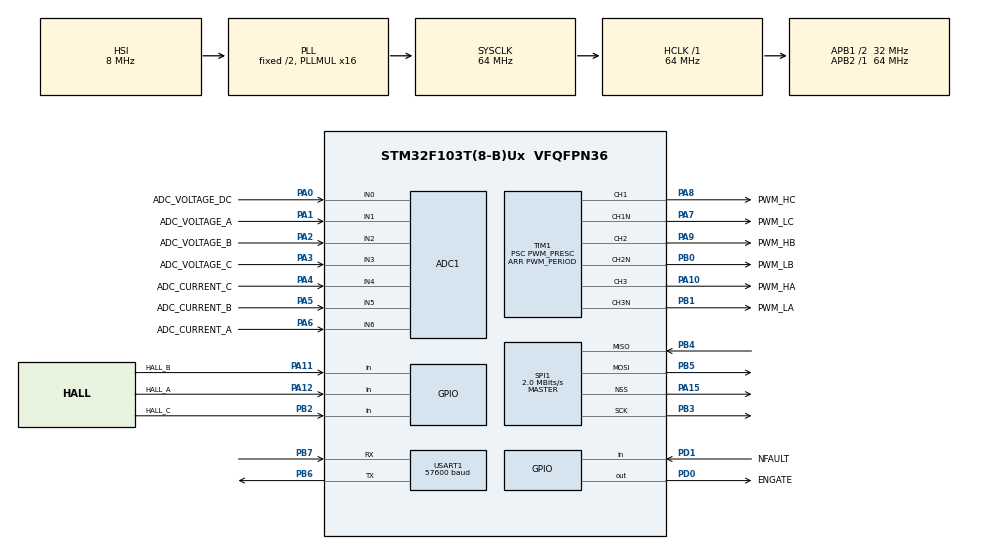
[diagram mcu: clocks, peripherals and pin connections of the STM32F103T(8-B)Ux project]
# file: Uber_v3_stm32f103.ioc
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ADC1.Channel-2\#ChannelInjectedConversion=ADC_CHANNEL_6
ADC1.Channel-3\#ChannelInjectedConversion=ADC_CHANNEL_5
ADC1.EnableAnalogWatchDog=false
ADC1.EnableInjectedConversion=ENABLE
ADC1.EnableRegularConversion=DISABLE
ADC1.ExternalTrigInjecConv=ADC_EXTERNALTRIGINJECCONV_T1_CC4
ADC1.InjNumberOfConversion=2
ADC1.InjectedOffset-2\#ChannelInjectedConversion=0
ADC1.InjectedOffset-3\#ChannelInjectedConversion=0
ADC1.InjectedRank-2\#ChannelInjectedConversion=1
ADC1.InjectedRank-3\#ChannelInjectedConversion=2
ADC1.Mode=ADC_DUALMODE_INJECSIMULT
ADC1.SamplingTime-2\#ChannelInjectedConversion=ADC_SAMPLETIME_1CYCLE_5
ADC1.SamplingTime-3\#ChannelInjectedConversion=ADC_SAMPLETIME_1CYCLE_5
ADC1.master=1
ADC2.Channel-2\#ChannelInjectedConversion=ADC_CHANNEL_4
ADC2.Channel-3\#ChannelInjectedConversion=ADC_CHANNEL_0
ADC2.EnableAnalogWatchDog=false
ADC2.EnableInjectedConversion=ENABLE
ADC2.EnableRegularConversion=DISABLE
ADC2.InjNumberOfConversion=2
ADC2.InjectedOffset-2\#ChannelInjectedConversion=0
ADC2.InjectedOffset-3\#ChannelInjectedConversion=0
ADC2.InjectedRank-2\#ChannelInjectedConversion=1
ADC2.InjectedRank-3\#ChannelInjectedConversion=2
ADC2.Mode=ADC_DUALMODE_INJECSIMULT
ADC2.SamplingTime-2\#ChannelInjectedConversion=ADC_SAMPLETIME_1CYCLE_5
ADC2.SamplingTime-3\#ChannelInjectedConversion=ADC_SAMPLETIME_1CYCLE_5
Dma.ADC1.0.Direction=DMA_PERIPH_TO_MEMORY
Dma.ADC1.0.Instance=DMA1_Channel1
Dma.ADC1.0.MemDataAlignment=DMA_MDATAALIGN_WORD
Dma.ADC1.0.MemInc=DMA_MINC_ENABLE
Dma.ADC1.0.Mode=DMA_CIRCULAR
Dma.ADC1.0.PeriphDataAlignment=DMA_PDATAALIGN_WORD
Dma.ADC1.0.PeriphInc=DMA_PINC_DISABLE
Dma.ADC1.0.Priority=DMA_PRIORITY_LOW
Dma.Request0=ADC1
Dma.Request1=USART1_RX
Dma.Request2=USART1_TX
Dma.USART1_RX.1.Direction=DMA_PERIPH_TO_MEMORY
Dma.USART1_RX.1.Instance=DMA1_Channel5
Dma.USART1_RX.1.MemDataAlignment=DMA_MDATAALIGN_BYTE
Dma.USART1_RX.1.MemInc=DMA_MINC_ENABLE
Dma.USART1_RX.1.Mode=DMA_NORMAL
Dma.USART1_RX.1.PeriphDataAlignment=DMA_PDATAALIGN_BYTE
Dma.USART1_RX.1.PeriphInc=DMA_PINC_DISABLE
Dma.USART1_RX.1.Priority=DMA_PRIORITY_LOW
Dma.USART1_TX.2.Direction=DMA_MEMORY_TO_PERIPH
Dma.USART1_TX.2.Instance=DMA1_Channel4
Dma.USART1_TX.2.MemDataAlignment=DMA_MDATAALIGN_BYTE
Dma.USART1_TX.2.MemInc=DMA_MINC_ENABLE
Dma.USART1_TX.2.Mode=DMA_NORMAL
Dma.USART1_TX.2.PeriphDataAlignment=DMA_PDATAALIGN_BYTE
Dma.USART1_TX.2.PeriphInc=DMA_PINC_DISABLE
Dma.USART1_TX.2.Priority=DMA_PRIORITY_LOW
Mcu.Family=STM32F1
Mcu.Name=STM32F103T(8-B)Ux
Mcu.Package=VFQFPN36
Mcu.UserConstants=PWM_PRESC,4-1;PWM_PERIOD,256-1
NVIC.ADC1_2_IRQn=true\:0\:0\:false\:false\:true\:true\:true\:true
NVIC.DMA1_Channel1_IRQn=true\:0\:0\:false\:false\:true\:false\:true\:true
NVIC.DMA1_Channel4_IRQn=true\:0\:0\:false\:false\:true\:false\:true\:true
NVIC.DMA1_Channel5_IRQn=true\:0\:0\:false\:false\:true\:false\:true\:true
NVIC.PriorityGroup=NVIC_PRIORITYGROUP_4
NVIC.TIM2_IRQn=true\:0\:0\:false\:false\:true\:true\:true\:true
NVIC.USART1_IRQn=true\:0\:0\:false\:false\:true\:true\:true\:true
PA0-WKUP.GPIO_Label=ADC_VOLTAGE_DC
PA0-WKUP.Signal=ADCx_IN0
PA1.GPIO_Label=ADC_VOLTAGE_A
PA1.Signal=ADCx_IN1
PA10.GPIO_Label=PWM_HA
PA10.Signal=S_TIM1_CH3
PA11.GPIO_Label=HALL_B
PA11.Signal=GPIO_Input
PA12.GPIO_Label=HALL_A
PA12.Signal=GPIO_Input
PA13.Mode=Serial_Wire
PA13.Signal=SYS_JTMS-SWDIO
PA14.Mode=Serial_Wire
PA14.Signal=SYS_JTCK-SWCLK
PA15.Mode=NSS_Signal_Hard_Output
PA15.Signal=SPI1_NSS
PA2.GPIO_Label=ADC_VOLTAGE_B
PA2.Signal=ADCx_IN2
PA3.GPIO_Label=ADC_VOLTAGE_C
PA3.Signal=ADCx_IN3
PA4.GPIO_Label=ADC_CURRENT_C
PA4.Signal=ADCx_IN4
PA5.GPIO_Label=ADC_CURRENT_B
PA5.Signal=ADCx_IN5
PA6.GPIO_Label=ADC_CURRENT_A
PA6.Signal=ADCx_IN6
PA7.GPIO_Label=PWM_LC
PA7.Mode=PWM Generation1 CH1 CH1N
PA7.Signal=TIM1_CH1N
PA8.GPIO_Label=PWM_HC
PA8.Signal=S_TIM1_CH1
PA9.GPIO_Label=PWM_HB
PA9.Signal=S_TIM1_CH2
PB0.GPIO_Label=PWM_LB
PB0.Mode=PWM Generation2 CH2 CH2N
PB0.Signal=TIM1_CH2N
PB1.GPIO_Label=PWM_LA
PB1.Mode=PWM Generation3 CH3 CH3N
PB1.Signal=TIM1_CH3N
PB2.GPIO_Label=HALL_C
PB2.Signal=GPIO_Input
PB3.Mode=Full_Duplex_Master
PB3.Signal=SPI1_SCK
PB4.Mode=Full_Duplex_Master
PB4.Signal=SPI1_MISO
PB5.Mode=Full_Duplex_Master
PB5.Signal=SPI1_MOSI
PB6.Mode=Asynchronous
PB6.Signal=USART1_TX
PB7.Mode=Asynchronous
PB7.Signal=USART1_RX
PD0-OSC_IN.GPIO_Label=ENGATE
PD0-OSC_IN.Signal=GPIO_Output
PD1-OSC_OUT.GPIO_Label=NFAULT
PD1-OSC_OUT.Signal=GPIO_Input
ProjectManager.HeapSize=0x200
ProjectManager.StackSize=0x400
ProjectManager.TargetToolchain=STM32CubeIDE
RCC.ADCPresc=RCC_ADCPCLK2_DIV6
RCC.AHBFreq_Value=64000000
RCC.APB1CLKDivider=RCC_HCLK_DIV2
RCC.APB1Freq_Value=32000000
RCC.APB1TimFreq_Value=64000000
RCC.APB2Freq_Value=64000000
RCC.APB2TimFreq_Value=64000000
RCC.HCLKFreq_Value=64000000
RCC.PLLMUL=RCC_PLL_MUL16
RCC.SYSCLKFreq_VALUE=64000000
RCC.SYSCLKSource=RCC_SYSCLKSOURCE_PLLCLK
RCC.USBFreq_Value=64000000
SH.ADCx_IN0.0=ADC1_IN0,IN0
SH.ADCx_IN0.1=ADC2_IN0,IN0
SH.ADCx_IN1.0=ADC1_IN1,IN1
SH.ADCx_IN1.1=ADC2_IN1,IN1
SH.ADCx_IN2.0=ADC1_IN2,IN2
SH.ADCx_IN2.1=ADC2_IN2,IN2
SH.ADCx_IN3.0=ADC1_IN3,IN3
SH.ADCx_IN3.1=ADC2_IN3,IN3
SH.ADCx_IN4.0=ADC1_IN4,IN4
SH.ADCx_IN4.1=ADC2_IN4,IN4
SH.ADCx_IN5.0=ADC1_IN5,IN5
SH.ADCx_IN5.1=ADC2_IN5,IN5
SH.ADCx_IN6.0=ADC1_IN6,IN6
SH.ADCx_IN6.1=ADC2_IN6,IN6
SH.S_TIM1_CH1.0=TIM1_CH1,PWM Generation1 CH1 CH1N
SH.S_TIM1_CH2.0=TIM1_CH2,PWM Generation2 CH2 CH2N
SH.S_TIM1_CH3.0=TIM1_CH3,PWM Generation3 CH3 CH3N
SPI1.BaudRatePrescaler=SPI_BAUDRATEPRESCALER_32
SPI1.CLKPhase=SPI_PHASE_2EDGE
SPI1.CalculateBaudRate=2.0 MBits/s
SPI1.DataSize=SPI_DATASIZE_16BIT
SPI1.Direction=SPI_DIRECTION_2LINES
SPI1.Mode=SPI_MODE_MASTER
SPI1.VirtualNSS=VM_NSSHARD
SPI1.VirtualType=VM_MASTER
TIM1.Channel-PWM\ Generation1\ CH1\ CH1N=TIM_CHANNEL_1
TIM1.Channel-PWM\ Generation2\ CH2\ CH2N=TIM_CHANNEL_2
TIM1.Channel-PWM\ Generation3\ CH3\ CH3N=TIM_CHANNEL_3
TIM1.Channel-PWM\ Generation4\ No\ Output=TIM_CHANNEL_4
TIM1.CounterMode=TIM_COUNTERMODE_CENTERALIGNED1
TIM1.Period=PWM_PERIOD
TIM1.Prescaler=PWM_PRESC
TIM1.TIM_MasterOutputTrigger=TIM_TRGO_OC4REF
TIM2.Channel-PWM\ Generation2\ No\ Output=TIM_CHANNEL_2
TIM2.CounterMode=TIM_COUNTERMODE_CENTERALIGNED1
TIM2.Period=PWM_PERIOD
TIM2.Prescaler=PWM_PRESC
TIM2.TIM_MasterOutputTrigger=TIM_TRGO_OC2REF
USART1.BaudRate=57600
USART1.VirtualMode=VM_ASYNC
VP_TIM1_VS_ClockSourceINT.Mode=Internal
VP_TIM1_VS_no_output4.Mode=PWM Generation4 No Output
VP_TIM2_VS_ClockSourceINT.Mode=Internal
VP_TIM2_VS_no_output2.Mode=PWM Generation2 No Output
board=custom

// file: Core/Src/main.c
/* USER CODE BEGIN Header */
/**
  ******************************************************************************
  * @file           : main.c
  * @brief          : Main program body
  ******************************************************************************
  * @attention
  *
  * <h2><center>&copy; Copyright (c) 2022 STMicroelectronics.
  * All rights reserved.</center></h2>
  *
  * This software component is licensed by ST under BSD 3-Clause license,
  * the "License"; You may not use this file except in compliance with the
  * License. You may obtain a copy of the License at:
  *                        opensource.org/licenses/BSD-3-Clause
  *
  ******************************************************************************
  */
/* USER CODE END Header */
#include "main.h"

/* USER CODE BEGIN Includes */
#include "application.h"
/* USER CODE END Includes */

 ADC_HandleTypeDef hadc1;
ADC_HandleTypeDef hadc2;
DMA_HandleTypeDef hdma_adc1;

SPI_HandleTypeDef hspi1;

TIM_HandleTypeDef htim1;
TIM_HandleTypeDef htim2;

UART_HandleTypeDef huart1;
DMA_HandleTypeDef hdma_usart1_rx;
DMA_HandleTypeDef hdma_usart1_tx;

void SystemClock_Config(void);
static void MX_GPIO_Init(void);
static void MX_ADC1_Init(void);
static void MX_SPI1_Init(void);
static void MX_TIM1_Init(void);
static void MX_USART1_UART_Init(void);
static void MX_DMA_Init(void);
static void MX_ADC2_Init(void);
static void MX_TIM2_Init(void);

int main(void)
{

  /* MCU Configuration--------------------------------------------------------*/

  /* Reset of all peripherals, Initializes the Flash interface and the Systick. */
  HAL_Init();

  /* Configure the system clock */
  SystemClock_Config();

  /* USER CODE BEGIN SysInit */
  MX_GPIO_Init();
  MX_DMA_Init();
  //MX_ADC1_Init();
  MX_SPI1_Init();
  MX_TIM1_Init();
  MX_TIM2_Init();
  MX_USART1_UART_Init();
  //MX_ADC2_Init();

  //HAL_GPIO_WritePin(LED_GPIO_Port, LED_Pin, 0);

  DRV_Init(&hspi1);

	uint8_t buf1[2] = {0,(0x2 << 3) + 0x80};
	uint8_t ret1[2] = {0,0};
	uint8_t res1 = HAL_SPI_TransmitReceive(&hspi1, buf1, ret1, 1, 100);

  DRV_Write(SHUNT_AMPLIFIER_CONTROL,
			(GAIN_CS1 & 0xffff) +
			(GAIN_CS2 & 0xffff) +
			(GAIN_CS3 & 0xffff));
//  uint16_t ret = 0;
//  ret = DRV_Read(SHUNT_AMPLIFIER_CONTROL);
//  ret = DRV_Read(WARNINGS_WATCHDOG_RESET);
//  ret = DRV_Read(OV_VDS_FAULTS);
//  ret = DRV_Read(IC_FAULTS);
//  ret = DRV_Read(VGS_FAULTS);

  //Control_Init_ADC_IAIBICVDC(&hadc1, &hadc2);
  //Control_Init_ADC_VPhaseVDC(&hadc1, &hadc2);
  Control_Init_ADC_VAVBVCVDC(&hadc1, &hadc2);

  Control_Init_Motor_Timer(&htim1);
  Application_Init(&huart1);

  HAL_Delay(1);

  while (1)
  {
	  Application_Update();
  }

  return 0;
  /* USER CODE END SysInit */

  /* Initialize all configured peripherals */
  MX_GPIO_Init();
  MX_ADC1_Init();
  MX_SPI1_Init();
  MX_TIM1_Init();
  MX_USART1_UART_Init();
  MX_DMA_Init();
  MX_ADC2_Init();
  MX_TIM2_Init();

  /* Infinite loop */
  while (1)
  {

  }
}

void SystemClock_Config(void)
{
  RCC_OscInitTypeDef RCC_OscInitStruct = {0};
  RCC_ClkInitTypeDef RCC_ClkInitStruct = {0};
  RCC_PeriphCLKInitTypeDef PeriphClkInit = {0};

  /** Initializes the RCC Oscillators according to the specified parameters
  * in the RCC_OscInitTypeDef structure.
  */
  RCC_OscInitStruct.OscillatorType = RCC_OSCILLATORTYPE_HSI;
  RCC_OscInitStruct.HSIState = RCC_HSI_ON;
  RCC_OscInitStruct.HSICalibrationValue = RCC_HSICALIBRATION_DEFAULT;
  RCC_OscInitStruct.PLL.PLLState = RCC_PLL_ON;
  RCC_OscInitStruct.PLL.PLLSource = RCC_PLLSOURCE_HSI_DIV2;
  RCC_OscInitStruct.PLL.PLLMUL = RCC_PLL_MUL16;
  if (HAL_RCC_OscConfig(&RCC_OscInitStruct) != HAL_OK)
  {
    Error_Handler();
  }

  /** Initializes the CPU, AHB and APB buses clocks
  */
  RCC_ClkInitStruct.ClockType = RCC_CLOCKTYPE_HCLK|RCC_CLOCKTYPE_SYSCLK
                              |RCC_CLOCKTYPE_PCLK1|RCC_CLOCKTYPE_PCLK2;
  RCC_ClkInitStruct.SYSCLKSource = RCC_SYSCLKSOURCE_PLLCLK;
  RCC_ClkInitStruct.AHBCLKDivider = RCC_SYSCLK_DIV1;
  RCC_ClkInitStruct.APB1CLKDivider = RCC_HCLK_DIV2;
  RCC_ClkInitStruct.APB2CLKDivider = RCC_HCLK_DIV1;

  if (HAL_RCC_ClockConfig(&RCC_ClkInitStruct, FLASH_LATENCY_2) != HAL_OK)
  {
    Error_Handler();
  }
  PeriphClkInit.PeriphClockSelection = RCC_PERIPHCLK_ADC;
  PeriphClkInit.AdcClockSelection = RCC_ADCPCLK2_DIV6;
  if (HAL_RCCEx_PeriphCLKConfig(&PeriphClkInit) != HAL_OK)
  {
    Error_Handler();
  }
}

static void MX_ADC1_Init(void)
{

  ADC_MultiModeTypeDef multimode = {0};
  ADC_InjectionConfTypeDef sConfigInjected = {0};

  /** Common config
  */
  hadc1.Instance = ADC1;
  hadc1.Init.ScanConvMode = ADC_SCAN_ENABLE;
  hadc1.Init.ContinuousConvMode = DISABLE;
  hadc1.Init.DiscontinuousConvMode = DISABLE;
  hadc1.Init.ExternalTrigConv = ADC_SOFTWARE_START;
  hadc1.Init.DataAlign = ADC_DATAALIGN_RIGHT;
  hadc1.Init.NbrOfConversion = 1;
  if (HAL_ADC_Init(&hadc1) != HAL_OK)
  {
    Error_Handler();
  }

  /** Configure the ADC multi-mode
  */
  multimode.Mode = ADC_DUALMODE_INJECSIMULT;
  if (HAL_ADCEx_MultiModeConfigChannel(&hadc1, &multimode) != HAL_OK)
  {
    Error_Handler();
  }

  /** Configure Injected Channel
  */
  sConfigInjected.InjectedChannel = ADC_CHANNEL_6;
  sConfigInjected.InjectedRank = ADC_INJECTED_RANK_1;
  sConfigInjected.InjectedNbrOfConversion = 2;
  sConfigInjected.InjectedSamplingTime = ADC_SAMPLETIME_1CYCLE_5;
  sConfigInjected.ExternalTrigInjecConv = ADC_EXTERNALTRIGINJECCONV_T1_CC4;
  sConfigInjected.AutoInjectedConv = DISABLE;
  sConfigInjected.InjectedDiscontinuousConvMode = DISABLE;
  sConfigInjected.InjectedOffset = 0;
  if (HAL_ADCEx_InjectedConfigChannel(&hadc1, &sConfigInjected) != HAL_OK)
  {
    Error_Handler();
  }

  /** Configure Injected Channel
  */
  sConfigInjected.InjectedChannel = ADC_CHANNEL_5;
  sConfigInjected.InjectedRank = ADC_INJECTED_RANK_2;
  if (HAL_ADCEx_InjectedConfigChannel(&hadc1, &sConfigInjected) != HAL_OK)
  {
    Error_Handler();
  }

}

static void MX_ADC2_Init(void)
{

  ADC_InjectionConfTypeDef sConfigInjected = {0};

  /** Common config
  */
  hadc2.Instance = ADC2;
  hadc2.Init.ScanConvMode = ADC_SCAN_ENABLE;
  hadc2.Init.ContinuousConvMode = DISABLE;
  hadc2.Init.DiscontinuousConvMode = DISABLE;
  hadc2.Init.ExternalTrigConv = ADC_SOFTWARE_START;
  hadc2.Init.DataAlign = ADC_DATAALIGN_RIGHT;
  hadc2.Init.NbrOfConversion = 1;
  if (HAL_ADC_Init(&hadc2) != HAL_OK)
  {
    Error_Handler();
  }

  /** Configure Injected Channel
  */
  sConfigInjected.InjectedChannel = ADC_CHANNEL_4;
  sConfigInjected.InjectedRank = ADC_INJECTED_RANK_1;
  sConfigInjected.InjectedNbrOfConversion = 2;
  sConfigInjected.InjectedSamplingTime = ADC_SAMPLETIME_1CYCLE_5;
  sConfigInjected.AutoInjectedConv = DISABLE;
  sConfigInjected.InjectedDiscontinuousConvMode = DISABLE;
  sConfigInjected.InjectedOffset = 0;
  if (HAL_ADCEx_InjectedConfigChannel(&hadc2, &sConfigInjected) != HAL_OK)
  {
    Error_Handler();
  }

  /** Configure Injected Channel
  */
  sConfigInjected.InjectedChannel = ADC_CHANNEL_0;
  sConfigInjected.InjectedRank = ADC_INJECTED_RANK_2;
  if (HAL_ADCEx_InjectedConfigChannel(&hadc2, &sConfigInjected) != HAL_OK)
  {
    Error_Handler();
  }

}

static void MX_SPI1_Init(void)
{

  /* SPI1 parameter configuration*/
  hspi1.Instance = SPI1;
  hspi1.Init.Mode = SPI_MODE_MASTER;
  hspi1.Init.Direction = SPI_DIRECTION_2LINES;
  hspi1.Init.DataSize = SPI_DATASIZE_16BIT;
  hspi1.Init.CLKPolarity = SPI_POLARITY_LOW;
  hspi1.Init.CLKPhase = SPI_PHASE_2EDGE;
  hspi1.Init.NSS = SPI_NSS_HARD_OUTPUT;
  hspi1.Init.BaudRatePrescaler = SPI_BAUDRATEPRESCALER_32;
  hspi1.Init.FirstBit = SPI_FIRSTBIT_MSB;
  hspi1.Init.TIMode = SPI_TIMODE_DISABLE;
  hspi1.Init.CRCCalculation = SPI_CRCCALCULATION_DISABLE;
  hspi1.Init.CRCPolynomial = 10;
  if (HAL_SPI_Init(&hspi1) != HAL_OK)
  {
    Error_Handler();
  }

}

static void MX_TIM1_Init(void)
{

  TIM_ClockConfigTypeDef sClockSourceConfig = {0};
  TIM_MasterConfigTypeDef sMasterConfig = {0};
  TIM_OC_InitTypeDef sConfigOC = {0};
  TIM_BreakDeadTimeConfigTypeDef sBreakDeadTimeConfig = {0};

  htim1.Instance = TIM1;
  htim1.Init.Prescaler = PWM_PRESC;
  htim1.Init.CounterMode = TIM_COUNTERMODE_CENTERALIGNED1;
  htim1.Init.Period = PWM_PERIOD;
  htim1.Init.ClockDivision = TIM_CLOCKDIVISION_DIV1;
  htim1.Init.RepetitionCounter = 0;
  htim1.Init.AutoReloadPreload = TIM_AUTORELOAD_PRELOAD_DISABLE;
  if (HAL_TIM_Base_Init(&htim1) != HAL_OK)
  {
    Error_Handler();
  }
  sClockSourceConfig.ClockSource = TIM_CLOCKSOURCE_INTERNAL;
  if (HAL_TIM_ConfigClockSource(&htim1, &sClockSourceConfig) != HAL_OK)
  {
    Error_Handler();
  }
  if (HAL_TIM_PWM_Init(&htim1) != HAL_OK)
  {
    Error_Handler();
  }
  sMasterConfig.MasterOutputTrigger = TIM_TRGO_OC4REF;
  sMasterConfig.MasterSlaveMode = TIM_MASTERSLAVEMODE_DISABLE;
  if (HAL_TIMEx_MasterConfigSynchronization(&htim1, &sMasterConfig) != HAL_OK)
  {
    Error_Handler();
  }
  sConfigOC.OCMode = TIM_OCMODE_PWM1;
  sConfigOC.Pulse = 0;
  sConfigOC.OCPolarity = TIM_OCPOLARITY_HIGH;
  sConfigOC.OCNPolarity = TIM_OCNPOLARITY_HIGH;
  sConfigOC.OCFastMode = TIM_OCFAST_DISABLE;
  sConfigOC.OCIdleState = TIM_OCIDLESTATE_RESET;
  sConfigOC.OCNIdleState = TIM_OCNIDLESTATE_RESET;
  if (HAL_TIM_PWM_ConfigChannel(&htim1, &sConfigOC, TIM_CHANNEL_1) != HAL_OK)
  {
    Error_Handler();
  }
  if (HAL_TIM_PWM_ConfigChannel(&htim1, &sConfigOC, TIM_CHANNEL_2) != HAL_OK)
  {
    Error_Handler();
  }
  if (HAL_TIM_PWM_ConfigChannel(&htim1, &sConfigOC, TIM_CHANNEL_3) != HAL_OK)
  {
    Error_Handler();
  }
  if (HAL_TIM_PWM_ConfigChannel(&htim1, &sConfigOC, TIM_CHANNEL_4) != HAL_OK)
  {
    Error_Handler();
  }
  sBreakDeadTimeConfig.OffStateRunMode = TIM_OSSR_DISABLE;
  sBreakDeadTimeConfig.OffStateIDLEMode = TIM_OSSI_DISABLE;
  sBreakDeadTimeConfig.LockLevel = TIM_LOCKLEVEL_OFF;
  sBreakDeadTimeConfig.DeadTime = 0;
  sBreakDeadTimeConfig.BreakState = TIM_BREAK_DISABLE;
  sBreakDeadTimeConfig.BreakPolarity = TIM_BREAKPOLARITY_HIGH;
  sBreakDeadTimeConfig.AutomaticOutput = TIM_AUTOMATICOUTPUT_DISABLE;
  if (HAL_TIMEx_ConfigBreakDeadTime(&htim1, &sBreakDeadTimeConfig) != HAL_OK)
  {
    Error_Handler();
  }
  HAL_TIM_MspPostInit(&htim1);

}

static void MX_TIM2_Init(void)
{

  TIM_ClockConfigTypeDef sClockSourceConfig = {0};
  TIM_MasterConfigTypeDef sMasterConfig = {0};
  TIM_OC_InitTypeDef sConfigOC = {0};

  htim2.Instance = TIM2;
  htim2.Init.Prescaler = PWM_PRESC;
  htim2.Init.CounterMode = TIM_COUNTERMODE_CENTERALIGNED1;
  htim2.Init.Period = PWM_PERIOD;
  htim2.Init.ClockDivision = TIM_CLOCKDIVISION_DIV1;
  htim2.Init.AutoReloadPreload = TIM_AUTORELOAD_PRELOAD_DISABLE;
  if (HAL_TIM_Base_Init(&htim2) != HAL_OK)
  {
    Error_Handler();
  }
  sClockSourceConfig.ClockSource = TIM_CLOCKSOURCE_INTERNAL;
  if (HAL_TIM_ConfigClockSource(&htim2, &sClockSourceConfig) != HAL_OK)
  {
    Error_Handler();
  }
  if (HAL_TIM_PWM_Init(&htim2) != HAL_OK)
  {
    Error_Handler();
  }
  sMasterConfig.MasterOutputTrigger = TIM_TRGO_OC2REF;
  sMasterConfig.MasterSlaveMode = TIM_MASTERSLAVEMODE_DISABLE;
  if (HAL_TIMEx_MasterConfigSynchronization(&htim2, &sMasterConfig) != HAL_OK)
  {
    Error_Handler();
  }
  sConfigOC.OCMode = TIM_OCMODE_PWM1;
  sConfigOC.Pulse = 0;
  sConfigOC.OCPolarity = TIM_OCPOLARITY_HIGH;
  sConfigOC.OCFastMode = TIM_OCFAST_DISABLE;
  if (HAL_TIM_PWM_ConfigChannel(&htim2, &sConfigOC, TIM_CHANNEL_2) != HAL_OK)
  {
    Error_Handler();
  }

}

static void MX_USART1_UART_Init(void)
{

  huart1.Instance = USART1;
  huart1.Init.BaudRate = 57600;
  huart1.Init.WordLength = UART_WORDLENGTH_8B;
  huart1.Init.StopBits = UART_STOPBITS_1;
  huart1.Init.Parity = UART_PARITY_NONE;
  huart1.Init.Mode = UART_MODE_TX_RX;
  huart1.Init.HwFlowCtl = UART_HWCONTROL_NONE;
  huart1.Init.OverSampling = UART_OVERSAMPLING_16;
  if (HAL_UART_Init(&huart1) != HAL_OK)
  {
    Error_Handler();
  }

}

static void MX_DMA_Init(void)
{

  /* DMA controller clock enable */
  __HAL_RCC_DMA1_CLK_ENABLE();

  /* DMA interrupt init */
  /* DMA1_Channel1_IRQn interrupt configuration */
  HAL_NVIC_SetPriority(DMA1_Channel1_IRQn, 0, 0);
  HAL_NVIC_EnableIRQ(DMA1_Channel1_IRQn);
  /* DMA1_Channel4_IRQn interrupt configuration */
  HAL_NVIC_SetPriority(DMA1_Channel4_IRQn, 0, 0);
  HAL_NVIC_EnableIRQ(DMA1_Channel4_IRQn);
  /* DMA1_Channel5_IRQn interrupt configuration */
  HAL_NVIC_SetPriority(DMA1_Channel5_IRQn, 0, 0);
  HAL_NVIC_EnableIRQ(DMA1_Channel5_IRQn);

}

static void MX_GPIO_Init(void)
{
  GPIO_InitTypeDef GPIO_InitStruct = {0};

  /* GPIO Ports Clock Enable */
  __HAL_RCC_GPIOD_CLK_ENABLE();
  __HAL_RCC_GPIOA_CLK_ENABLE();
  __HAL_RCC_GPIOB_CLK_ENABLE();

  /*Configure GPIO pin Output Level */
  HAL_GPIO_WritePin(ENGATE_GPIO_Port, ENGATE_Pin, GPIO_PIN_RESET);

  /*Configure GPIO pin : ENGATE_Pin */
  GPIO_InitStruct.Pin = ENGATE_Pin;
  GPIO_InitStruct.Mode = GPIO_MODE_OUTPUT_PP;
  GPIO_InitStruct.Pull = GPIO_NOPULL;
  GPIO_InitStruct.Speed = GPIO_SPEED_FREQ_LOW;
  HAL_GPIO_Init(ENGATE_GPIO_Port, &GPIO_InitStruct);

  /*Configure GPIO pin : NFAULT_Pin */
  GPIO_InitStruct.Pin = NFAULT_Pin;
  GPIO_InitStruct.Mode = GPIO_MODE_INPUT;
  GPIO_InitStruct.Pull = GPIO_NOPULL;
  HAL_GPIO_Init(NFAULT_GPIO_Port, &GPIO_InitStruct);

  /*Configure GPIO pin : HALL_C_Pin */
  GPIO_InitStruct.Pin = HALL_C_Pin;
  GPIO_InitStruct.Mode = GPIO_MODE_INPUT;
  GPIO_InitStruct.Pull = GPIO_NOPULL;
  HAL_GPIO_Init(HALL_C_GPIO_Port, &GPIO_InitStruct);

  /*Configure GPIO pins : HALL_B_Pin HALL_A_Pin */
  GPIO_InitStruct.Pin = HALL_B_Pin|HALL_A_Pin;
  GPIO_InitStruct.Mode = GPIO_MODE_INPUT;
  GPIO_InitStruct.Pull = GPIO_NOPULL;
  HAL_GPIO_Init(GPIOA, &GPIO_InitStruct);

  /*Configure peripheral I/O remapping */
  __HAL_AFIO_REMAP_PD01_ENABLE();

}

void Error_Handler(void)
{
  __disable_irq();
  while (1)
  {
  }
}
